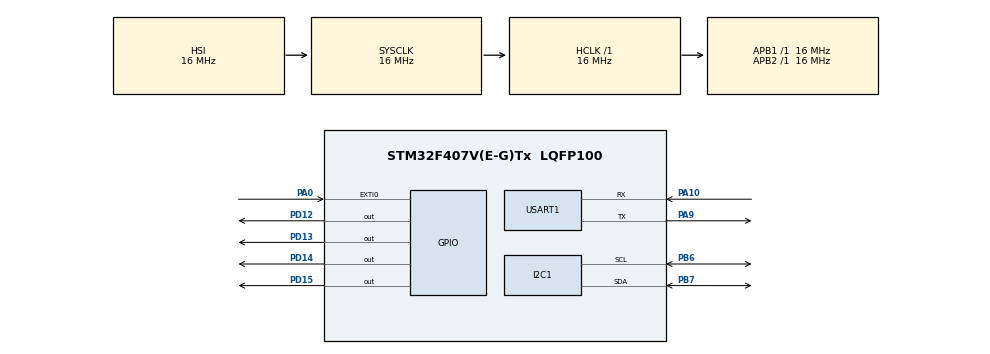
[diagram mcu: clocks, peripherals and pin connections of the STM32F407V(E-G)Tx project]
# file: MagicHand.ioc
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I2C1.I2C_Mode=I2C_Fast
Mcu.Family=STM32F4
Mcu.Name=STM32F407V(E-G)Tx
Mcu.Package=LQFP100
NVIC.EXTI0_IRQn=true\:1\:0\:true\:false\:true\:true\:true\:true
NVIC.PriorityGroup=NVIC_PRIORITYGROUP_4
NVIC.USART1_IRQn=true\:0\:0\:true\:false\:true\:true\:true\:true
PA0-WKUP.GPIO_ModeDefaultEXTI=GPIO_MODE_IT_FALLING
PA0-WKUP.GPIO_PuPd=GPIO_NOPULL
PA0-WKUP.Signal=GPXTI0
PA10.Mode=Asynchronous
PA10.Signal=USART1_RX
PA13.Mode=Serial_Wire
PA13.Signal=SYS_JTMS-SWDIO
PA14.Mode=Serial_Wire
PA14.Signal=SYS_JTCK-SWCLK
PA9.Mode=Asynchronous
PA9.Signal=USART1_TX
PB6.Mode=I2C
PB6.Signal=I2C1_SCL
PB7.Mode=I2C
PB7.Signal=I2C1_SDA
PD12.Signal=GPIO_Output
PD13.Signal=GPIO_Output
PD14.Signal=GPIO_Output
PD15.Signal=GPIO_Output
PH0-OSC_IN.Mode=HSE-External-Oscillator
PH0-OSC_IN.Signal=RCC_OSC_IN
PH1-OSC_OUT.Mode=HSE-External-Oscillator
PH1-OSC_OUT.Signal=RCC_OSC_OUT
ProjectManager.HeapSize=0x200
ProjectManager.StackSize=0x400
ProjectManager.TargetToolchain=STM32CubeIDE
RCC.AHBFreq_Value=16000000
RCC.APB1Freq_Value=16000000
RCC.APB2Freq_Value=16000000
RCC.CortexFreq_Value=16000000
RCC.HSE_VALUE=8000000
RCC.HSI_VALUE=16000000
RCC.LSE_VALUE=32768
RCC.SYSCLKFreq_VALUE=16000000
RCC.VCOOutputFreq_Value=192000000
USART1.VirtualMode=VM_ASYNC
board=custom

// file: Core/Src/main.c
/* USER CODE BEGIN Header */
/**
  ******************************************************************************
  * @file           : main.c
  * @brief          : Main program body
  ******************************************************************************
  * @attention
  *
  * Copyright (c) 2024 STMicroelectronics.
  * All rights reserved.
  *
  * This software is licensed under terms that can be found in the LICENSE file
  * in the root directory of this software component.
  * If no LICENSE file comes with this software, it is provided AS-IS.
  *
  ******************************************************************************
  */
/* USER CODE END Header */
#include "main.h"

/* USER CODE BEGIN Includes */
#include "pca9685.h"
#include "string.h"
/* USER CODE END Includes */

/* USER CODE BEGIN PD */
#define SERVO_COUNT	5
/* USER CODE END PD */

I2C_HandleTypeDef hi2c1;

UART_HandleTypeDef huart1;

/* USER CODE BEGIN PV */
uint8_t ActiveServo;

char uart_rx_buffer[256];
char *buffer_ptr = uart_rx_buffer;
uint8_t received_byte;
uint8_t uart_received_flag = 0;

uint8_t mode_flag = 0;

volatile uint8_t button_pressed = 0;
uint32_t button_press_time = 0;
/* USER CODE END PV */

void SystemClock_Config(void);
static void MX_GPIO_Init(void);
static void MX_I2C1_Init(void);
static void MX_USART1_UART_Init(void);

/* USER CODE BEGIN 0 */
void delay_short(volatile uint32_t delay)
{
    while (delay--)
    {
        // Vòng lặp trống tạo độ trễ ngắn
    }
}
void led_chasing(void)
{
	HAL_GPIO_WritePin(GPIOD, GPIO_PIN_12, GPIO_PIN_SET);
	                delay_short(100000);  // Điều chỉnh giá trị để thay đổi độ trễ
	                HAL_GPIO_WritePin(GPIOD, GPIO_PIN_12, GPIO_PIN_RESET);

	                HAL_GPIO_WritePin(GPIOD, GPIO_PIN_13, GPIO_PIN_SET);
	                delay_short(100000);
	                HAL_GPIO_WritePin(GPIOD, GPIO_PIN_13, GPIO_PIN_RESET);

	                HAL_GPIO_WritePin(GPIOD, GPIO_PIN_14, GPIO_PIN_SET);
	                delay_short(100000);
	                HAL_GPIO_WritePin(GPIOD, GPIO_PIN_14, GPIO_PIN_RESET);

	                HAL_GPIO_WritePin(GPIOD, GPIO_PIN_15, GPIO_PIN_SET);
	                delay_short(100000);
	                HAL_GPIO_WritePin(GPIOD, GPIO_PIN_15, GPIO_PIN_RESET);
}
void finger0_down(void)
{
	PCA9685_SetServoAngle(0, 120);
};

void finger0_up(void)
{
	PCA9685_SetServoAngle(0, 180);
};

void finger1_down(void)
{
	PCA9685_SetServoAngle(1, 50);
};

void finger1_up(void)
{
	PCA9685_SetServoAngle(1, 180);
};

void finger2_down(void)
{
	PCA9685_SetServoAngle(2, 0);
};

void finger2_up(void)
{
	PCA9685_SetServoAngle(2, 180);
};

void finger3_down(void)
{
	PCA9685_SetServoAngle(3, 40);
};

void finger3_up(void)
{
	PCA9685_SetServoAngle(3, 180);
};

void finger4_down(void)
{
	PCA9685_SetServoAngle(4, 30);
};

void finger4_up(void)
{
	PCA9685_SetServoAngle(4, 180);
};

void process_received_data()
{
    if (uart_received_flag)
    {
        uart_received_flag = 0;  // Xóa cờ
        int finger_index = 0;    // Chỉ số ngón tay (0 đến 4)
        int value = -1;          // Giá trị điều khiển (1: lên, 0: xuống)

        if (mode_flag == 0)
        {
            // Duyệt qua từng ký tự trong chuỗi nhận được
            for (char *ptr = uart_rx_buffer; *ptr != '\0' && finger_index < 5; ptr++)
            {
                if (*ptr == '0' || *ptr == '1') // Kiểm tra ký tự là '0' hoặc '1'
                {
                    value = *ptr - '0';  // Chuyển ký tự thành số nguyên

                    // Điều khiển servo dựa trên giá trị
                    if (value == 1)
                    {
                        switch (finger_index)
                        {
                            case 0: finger0_up(); break;
                            case 1: finger1_up(); break;
                            case 2: finger2_up(); break;
                            case 3: finger3_up(); break;
                            case 4: finger4_up(); break;
                        }
                    }
                    else if (value == 0)
                    {
                        switch (finger_index)
                        {
                            case 0: finger0_down(); break;
                            case 1: finger1_down(); break;
                            case 2: finger2_down(); break;
                            case 3: finger3_down(); break;
                            case 4: finger4_down(); break;
                        }
                    }
                    finger_index++;  // Tăng chỉ số ngón tay
                }
            }
        }
        else
        {
            int all_zeros = 1;  // Cờ kiểm tra nếu toàn là '0'
            int all_ones = 1;   // Cờ kiểm tra nếu toàn là '1'
            int match_pattern = 1; // Cờ kiểm tra định dạng 0,1,1,0,0

            // Chuỗi mẫu 0,1,1,0,0
            const char *pattern = "0,1,1,0,0";

            // Lặp qua từng ký tự trong chuỗi
            for (int i = 0; uart_rx_buffer[i] != '\0'; i++)
            {
                if (uart_rx_buffer[i] == '0')
                {
                    all_ones = 0;  // Nếu có '0', không thể là toàn '1'
                }
                else if (uart_rx_buffer[i] == '1')
                {
                    all_zeros = 0;  // Nếu có '1', không thể là toàn '0'
                }
                else if (uart_rx_buffer[i] != ',')
                {
                    // Nếu có ký tự không phải '0', '1', hoặc dấu phẩy, thì không hợp lệ
                    return;
                }

                // Kiểm tra xem chuỗi có khớp với mẫu không
                if (uart_rx_buffer[i] != pattern[i])
                {
                    match_pattern = 0;  // Nếu có ký tự không khớp mẫu, đặt cờ thành 0
                }
            }

            // Kiểm tra các trường hợp
            if (all_zeros)
            {
                // Trường hợp toàn là '0'
                // Thực hiện hành động cho trường hợp toàn 0
                // Ví dụ:
            	finger0_up();
            	finger1_up();
            	finger2_up();
            	finger3_up();
            	finger4_up();
            }
            else if (all_ones)
            {
                // Trường hợp toàn là '1'
                // Thực hiện hành động cho trường hợp toàn 1
                // Ví dụ:
            	finger0_down();
            	finger1_up();
            	finger2_up();
            	finger3_down();
            	finger4_down();

            }
            else if (match_pattern)
            {
                // Trường hợp khớp với mẫu "0,1,1,0,0"
                // Thực hiện hành động cho trường hợp này
            	finger0_down();
            	finger1_down();
            	finger2_down();
            	finger3_down();
            	finger4_down();
            }
            else
            {
                // Trường hợp khác không hợp lệ, bỏ qua

                return;
            }
        }

        // Đặt lại nội dung mảng để sẵn sàng nhận chuỗi mới
        memset(uart_rx_buffer, 0, sizeof(uart_rx_buffer));
    }
}

void HAL_GPIO_EXTI_Callback(uint16_t GPIO_Pin)
{
    if (GPIO_Pin == GPIO_PIN_0)  // Kiểm tra nếu ngắt từ PA0
    {
    	 button_pressed = 1;             // Đặt cờ báo hiệu nút đã nhấn
    	  button_press_time = HAL_GetTick();  // Ghi nhận thời gian nhấn

    }
}

void check_button_press()
{
    if (button_pressed)
    {
        // Kiểm tra nếu đã qua thời gian chống rung (ví dụ: 50ms)
        if ((HAL_GetTick() - button_press_time) > 10)
        {
            // Thực hiện hiệu ứng LED chạy
            for (int i = 0; i < 3; i++)  // Số lần lặp lại hiệu ứng
            {
                // Bật đèn LED lần lượt trên các chân PD12 - PD15
            	led_chasing();
            }

            // Thay đổi trạng thái của `mode_flag`
            mode_flag ^= 1;
            if (mode_flag)
            	HAL_GPIO_WritePin(GPIOD,GPIO_PIN_12 | GPIO_PIN_13 | GPIO_PIN_14 | GPIO_PIN_15, GPIO_PIN_SET);

            // Reset cờ sau khi xử lý
            button_pressed = 0;
        }
    }
}

/* USER CODE END 0 */

int main(void)
{

  /* MCU Configuration--------------------------------------------------------*/

  /* Reset of all peripherals, Initializes the Flash interface and the Systick. */
  HAL_Init();

  /* Configure the system clock */
  SystemClock_Config();

  /* Initialize all configured peripherals */
  MX_GPIO_Init();
  MX_I2C1_Init();
  MX_USART1_UART_Init();
  /* USER CODE BEGIN 2 */
  PCA9685_Init(&hi2c1);
  PCA9685_SetServoAngle(0, 180); //120 -180
  PCA9685_SetServoAngle(1, 180); //180 -50
  PCA9685_SetServoAngle(2, 180);   //180-0
  PCA9685_SetServoAngle(3, 180);   //180-40
  PCA9685_SetServoAngle(4, 180);   //180-30

  HAL_Delay(2000);

  HAL_UART_Receive_IT(&huart1, &received_byte, 1);
  led_chasing();
  /* USER CODE END 2 */

  /* Infinite loop */
  while (1)
  {

    /* USER CODE BEGIN 3 */
	  process_received_data();
	  check_button_press();

  }
  /* USER CODE END 3 */
}

void SystemClock_Config(void)
{
  RCC_OscInitTypeDef RCC_OscInitStruct = {0};
  RCC_ClkInitTypeDef RCC_ClkInitStruct = {0};

  /** Configure the main internal regulator output voltage
  */
  __HAL_RCC_PWR_CLK_ENABLE();
  __HAL_PWR_VOLTAGESCALING_CONFIG(PWR_REGULATOR_VOLTAGE_SCALE1);

  /** Initializes the RCC Oscillators according to the specified parameters
  * in the RCC_OscInitTypeDef structure.
  */
  RCC_OscInitStruct.OscillatorType = RCC_OSCILLATORTYPE_HSI;
  RCC_OscInitStruct.HSIState = RCC_HSI_ON;
  RCC_OscInitStruct.HSICalibrationValue = RCC_HSICALIBRATION_DEFAULT;
  RCC_OscInitStruct.PLL.PLLState = RCC_PLL_NONE;
  if (HAL_RCC_OscConfig(&RCC_OscInitStruct) != HAL_OK)
  {
    Error_Handler();
  }

  /** Initializes the CPU, AHB and APB buses clocks
  */
  RCC_ClkInitStruct.ClockType = RCC_CLOCKTYPE_HCLK|RCC_CLOCKTYPE_SYSCLK
                              |RCC_CLOCKTYPE_PCLK1|RCC_CLOCKTYPE_PCLK2;
  RCC_ClkInitStruct.SYSCLKSource = RCC_SYSCLKSOURCE_HSI;
  RCC_ClkInitStruct.AHBCLKDivider = RCC_SYSCLK_DIV1;
  RCC_ClkInitStruct.APB1CLKDivider = RCC_HCLK_DIV1;
  RCC_ClkInitStruct.APB2CLKDivider = RCC_HCLK_DIV1;

  if (HAL_RCC_ClockConfig(&RCC_ClkInitStruct, FLASH_LATENCY_0) != HAL_OK)
  {
    Error_Handler();
  }
}

static void MX_I2C1_Init(void)
{

  hi2c1.Instance = I2C1;
  hi2c1.Init.ClockSpeed = 400000;
  hi2c1.Init.DutyCycle = I2C_DUTYCYCLE_2;
  hi2c1.Init.OwnAddress1 = 0;
  hi2c1.Init.AddressingMode = I2C_ADDRESSINGMODE_7BIT;
  hi2c1.Init.DualAddressMode = I2C_DUALADDRESS_DISABLE;
  hi2c1.Init.OwnAddress2 = 0;
  hi2c1.Init.GeneralCallMode = I2C_GENERALCALL_DISABLE;
  hi2c1.Init.NoStretchMode = I2C_NOSTRETCH_DISABLE;
  if (HAL_I2C_Init(&hi2c1) != HAL_OK)
  {
    Error_Handler();
  }

}

static void MX_USART1_UART_Init(void)
{

  huart1.Instance = USART1;
  huart1.Init.BaudRate = 115200;
  huart1.Init.WordLength = UART_WORDLENGTH_8B;
  huart1.Init.StopBits = UART_STOPBITS_1;
  huart1.Init.Parity = UART_PARITY_NONE;
  huart1.Init.Mode = UART_MODE_TX_RX;
  huart1.Init.HwFlowCtl = UART_HWCONTROL_NONE;
  huart1.Init.OverSampling = UART_OVERSAMPLING_16;
  if (HAL_UART_Init(&huart1) != HAL_OK)
  {
    Error_Handler();
  }

}

static void MX_GPIO_Init(void)
{
  GPIO_InitTypeDef GPIO_InitStruct = {0};

  /* GPIO Ports Clock Enable */
  __HAL_RCC_GPIOH_CLK_ENABLE();
  __HAL_RCC_GPIOA_CLK_ENABLE();
  __HAL_RCC_GPIOD_CLK_ENABLE();
  __HAL_RCC_GPIOB_CLK_ENABLE();

  /*Configure GPIO pin Output Level */
  HAL_GPIO_WritePin(GPIOD, GPIO_PIN_12|GPIO_PIN_13|GPIO_PIN_14|GPIO_PIN_15, GPIO_PIN_RESET);

  /*Configure GPIO pin : PA0 */
  GPIO_InitStruct.Pin = GPIO_PIN_0;
  GPIO_InitStruct.Mode = GPIO_MODE_IT_FALLING;
  GPIO_InitStruct.Pull = GPIO_NOPULL;
  HAL_GPIO_Init(GPIOA, &GPIO_InitStruct);

  /*Configure GPIO pins : PD12 PD13 PD14 PD15 */
  GPIO_InitStruct.Pin = GPIO_PIN_12|GPIO_PIN_13|GPIO_PIN_14|GPIO_PIN_15;
  GPIO_InitStruct.Mode = GPIO_MODE_OUTPUT_PP;
  GPIO_InitStruct.Pull = GPIO_NOPULL;
  GPIO_InitStruct.Speed = GPIO_SPEED_FREQ_LOW;
  HAL_GPIO_Init(GPIOD, &GPIO_InitStruct);

  /* EXTI interrupt init*/
  HAL_NVIC_SetPriority(EXTI0_IRQn, 1, 0);
  HAL_NVIC_EnableIRQ(EXTI0_IRQn);

}

/* USER CODE BEGIN 4 */
void HAL_UART_RxCpltCallback(UART_HandleTypeDef *huart)
{
    if (huart->Instance == USART1)
    {
        if (received_byte != '\n')
        {
            *buffer_ptr++ = received_byte;  // Lưu byte vào vị trí hiện tại của con tr�? và tăng con tr�?
        }
        else
        {
            *buffer_ptr = '\0';             // Kết thúc chuỗi bằng ký tự null
            uart_received_flag = 1;         // �?ặt c�? báo hiệu chuỗi đã nhận hoàn chỉnh
            buffer_ptr = uart_rx_buffer;    // �?ặt lại con tr�? v�? đầu mảng cho lần nhận tiếp theo
        }

        // Tiếp tục nhận byte tiếp theo
        HAL_UART_Receive_IT(&huart1, &received_byte, 1);
    }
}

/* USER CODE END 4 */

void Error_Handler(void)
{
  __disable_irq();
  while (1)
  {
  }
}
